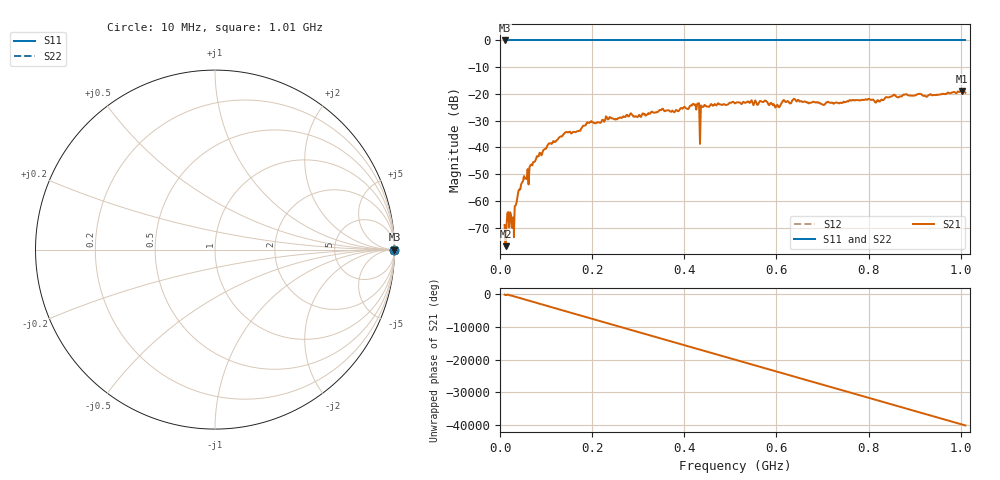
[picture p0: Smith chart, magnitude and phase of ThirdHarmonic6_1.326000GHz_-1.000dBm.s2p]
! 8/16/2025 2:47:18 PM
! C:\ANRITSUVNA\TEMP\TEMP.S2P
! CHANNEL.1
! TR.MEASUREMENT
! RAW.DATA
! RF.CORRECTION.OFF
! AVERAGING.OFF
! IF.BANDWIDTH: 5KHZ
! SWEEPTYPE:  FREQ.SWEEP(Linear)
! Reference Plane Port Info
! PORT:  PORT1  PORT2
! DISTANCE:  0  m  0  m
! TIME:  0  s  0  s
! PHASE.OFFSET:  0  deg.  0  deg.
! LOSS:  0  dB  0  dB
! REF.LOSS:  0  dB  0  dB
! REF.FREQ:  0  Hz  0  Hz
! Power Info
! POWER:  -20  dBm  -20  dBm
! EFF.POWER:  -20  dBm  -20  dBm
! SOURCE.ATTEN:  0  dB  0  dB
! TEST.ATTEN:  0  dB  0  dB
# GHZ S RI R 50.0
! FREQ.GHZ  S11RE  S11IM  S21RE  S21IM  S12RE  S12IM  S22RE  S22IM
!; PortSelection: Port_12
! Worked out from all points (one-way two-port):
!   501 points, 10 MHz to 1.01 GHz, reference 50 ohm
!   highest |S21| = -18.89 dB at 1.002 GHz (marker M1); lowest = -76.9 dB at 12 MHz (marker M2)
!   lowest |S11| = 0.0 dB at 10 MHz (marker M3)
!   |S11| at or under -10 dB: nowhere
!   |S22| runs from 0.0 to 0.0 dB; largest |S21 - S12| = 1.1
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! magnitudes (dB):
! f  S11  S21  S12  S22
! 10 MHz  0.0  -69.0  0.0  0.0
! 12 MHz  0.0  -76.9  0.0  0.0
! 20 MHz  0.0  -69.9  0.0  0.0
! 26 MHz  0.0  -70.0  0.0  0.0
! 30 MHz  0.0  -73.6  0.0  0.0
! 36 MHz  0.0  -60.5  0.0  0.0
! 44 MHz  0.0  -55.7  0.0  0.0
! 82 MHz  0.0  -43.3  0.0  0.0
! 142 MHz  0.0  -34.3  0.0  0.0
! 178 MHz  0.0  -32.5  0.0  0.0
! 234 MHz  0.0  -29.5  0.0  0.0
! 344 MHz  0.0  -26.5  0.0  0.0
! 420 MHz  0.0  -23.7  0.0  0.0
! 438 MHz  0.0  -24.6  0.0  0.0
! 440 MHz  0.0  -24.9  0.0  0.0
! 510 MHz  0.0  -23.5  0.0  0.0
! 602 MHz  0.0  -24.0  0.0  0.0
! 638 MHz  0.0  -21.8  0.0  0.0
! 678 MHz  0.0  -23.1  0.0  0.0
! 844 MHz  0.0  -21.3  0.0  0.0
! 1.002 GHz  0.0  -18.9  0.0  0.0
! 1.01 GHz  0.0  -19.5  0.0  0.0
